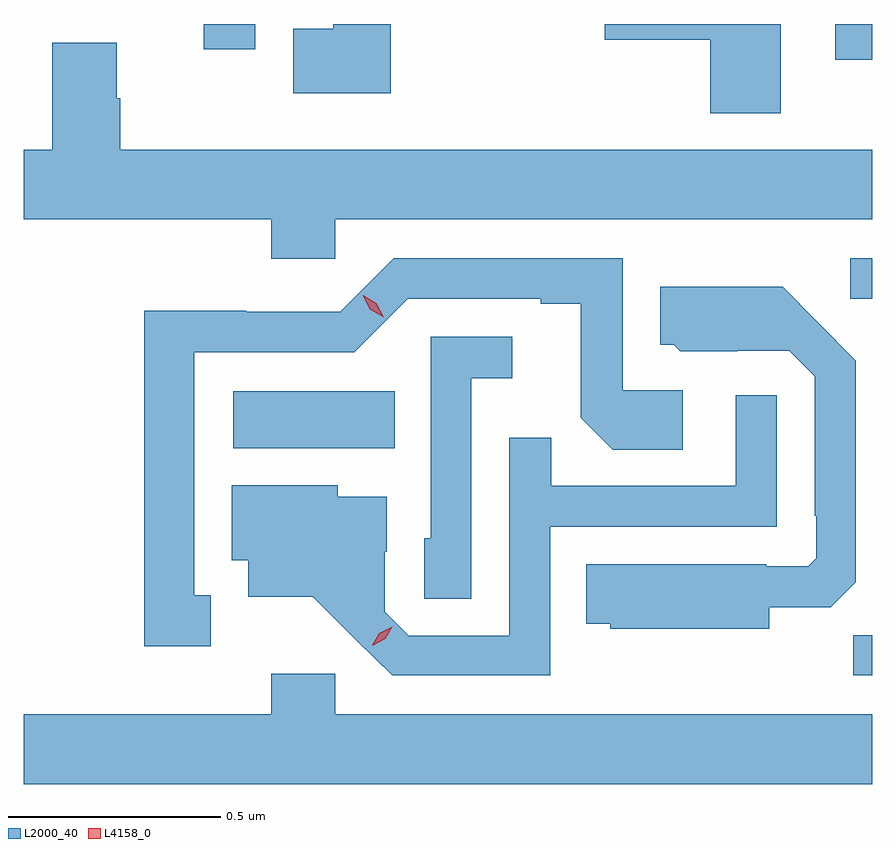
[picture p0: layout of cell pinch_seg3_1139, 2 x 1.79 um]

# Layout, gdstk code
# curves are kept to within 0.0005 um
import gdstk
lib = gdstk.Library(unit=1e-6, precision=1e-09)
def R(c, l, rs):  # rectangles x0, y0, x1, y1
    for r in rs: c.add(gdstk.rectangle(r[:2], r[2:], *l))
def P(c, l, *ps):  # polygons
    for p in ps: c.add(gdstk.Polygon(p, *l))
L2000_40 = (2000, 40)
L4158_0 = (4158, 0)

pinch_seg3_1139 = lib.new_cell('pinch_seg3_1139')
R(pinch_seg3_1139, L2000_40, [(318.436,703.836,318.48,703.931), (316.974,704.372,317.354,704.506), (318.429,704.724,318.48,704.82), (318.393,705.288,318.48,705.372), (316.904,705.312,317.026,705.372)])
P(pinch_seg3_1139, L2000_40, [(317.345,705.372),(317.21,705.372),(317.21,705.361),(317.115,705.361),(317.115,705.209),(317.345,705.209)],
  [(318.265,705.372),(317.85,705.372),(317.85,705.335),(318.098,705.335),(318.098,705.162),(318.265,705.162)],
  [(317.214,704.912),(318.48,704.912),(318.48,705.076),(316.707,705.076),(316.707,705.197),(316.699,705.197),(316.699,705.328),(316.547,705.328),(316.547,705.076),(316.48,705.076),(316.48,704.912),(317.063,704.912),(317.063,704.819),(317.214,704.819)],
  [(316.921,704.025),(316.882,704.025),(316.882,704.598),(317.259,704.598),(317.385,704.724),(317.699,704.724),(317.699,704.712),(317.793,704.712),(317.793,704.444),(317.869,704.368),(318.034,704.368),(318.034,704.508),(317.892,704.508),(317.892,704.82),(317.352,704.82),(317.226,704.694),(317.004,704.694),(317.004,704.696),(316.764,704.696),(316.764,703.905),(316.921,703.905)],
  [(318.238,703.997),(318.382,703.997),(318.441,704.056),(318.441,704.578),(318.269,704.752),(317.981,704.752),(317.981,704.616),(318.012,704.616),(318.028,704.6),(318.162,704.6),(318.162,704.601),(318.285,704.601),(318.345,704.541),(318.345,704.212),(318.348,704.212),(318.348,704.112),(318.33,704.094),(318.23,704.094),(318.23,704.098),(317.806,704.098),(317.806,703.958),(317.862,703.958),(317.862,703.946),(318.238,703.946)],
  [(317.535,704.537),(317.632,704.537),(317.632,704.634),(317.439,704.634),(317.439,704.16),(317.424,704.16),(317.424,704.017),(317.535,704.017)],
  [(317.721,704.187),(318.255,704.187),(318.255,704.497),(318.159,704.497),(318.159,704.283),(317.723,704.283),(317.723,704.396),(317.625,704.396),(317.625,703.929),(317.388,703.929),(317.331,703.986),(317.331,704.128),(317.335,704.128),(317.335,704.257),(317.22,704.257),(317.22,704.284),(316.97,704.284),(316.97,704.108),(317.009,704.108),(317.009,704.021),(317.161,704.021),(317.348,703.836),(317.721,703.836)],
  [(318.48,703.744),(317.214,703.744),(317.214,703.84),(317.063,703.84),(317.063,703.744),(316.48,703.744),(316.48,703.58),(318.48,703.58)])
P(pinch_seg3_1139, L4158_0, [(317.301,703.906),(317.301,703.907),(317.318,703.936),(317.348,703.951),(317.349,703.951),(317.349,703.951),(317.332,703.922),(317.301,703.906)],
  [(317.328,704.681),(317.296,704.7),(317.279,704.732),(317.279,704.733),(317.28,704.733),(317.311,704.714),(317.328,704.681),(317.328,704.681)])

lib.write_gds('pinch_seg3_1139.gds')
